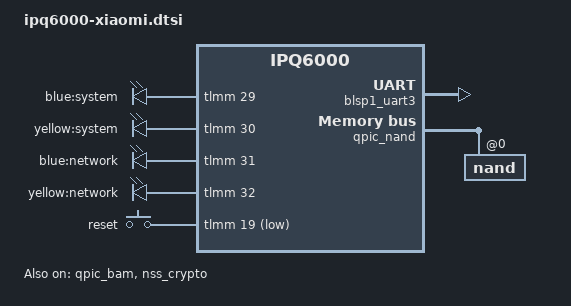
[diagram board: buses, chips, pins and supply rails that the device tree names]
// SPDX-License-Identifier: GPL-2.0-or-later OR MIT
// Redmi AX5 (RA67) private board wire-up for IPQ6018 32-bit build.
// This overlay carries the Xiaomi-private LEDs/keys/aliases; dp/switch/mdio
// and pinctrl definitions live in ipq6018-ax5.dts (where they can reference
// platform pins defined in dtsi).

#include <dt-bindings/gpio/gpio.h>
#include <dt-bindings/input/input.h>

/ {
	aliases {
		serial0 = &blsp1_uart3;
		led-boot = &led_yellow;
		led-failsafe = &led_blue;
		led-running = &led_blue;
		led-upgrade = &led_yellow;

		/* u-boot MAC patching needs these */
		ethernet0 = "/soc/dp1";
		ethernet1 = "/soc/dp2";
		ethernet2 = "/soc/dp3";
		ethernet3 = "/soc/dp4";

		label-mac-device = "/soc/dp4";
	};

	chosen {
		bootargs-append = " swiotlb=1 coherent_pool=2M";
	};

	leds {
		compatible = "gpio-leds";
		pinctrl-0 = <&leds_pins>;
		pinctrl-names = "default";

		led_blue: system-blue {
			label = "blue:system";
			gpios = <&tlmm 29 GPIO_ACTIVE_HIGH>;
		};

		led_yellow: system-yellow {
			label = "yellow:system";
			gpios = <&tlmm 30 GPIO_ACTIVE_HIGH>;
		};

		network-blue {
			label = "blue:network";
			gpios = <&tlmm 31 GPIO_ACTIVE_HIGH>;
		};

		network-yellow {
			label = "yellow:network";
			gpios = <&tlmm 32 GPIO_ACTIVE_HIGH>;
		};
	};

	keys {
		compatible = "gpio-keys";
		pinctrl-0 = <&button_pins>;
		pinctrl-names = "default";

		reset {
			label = "reset";
			linux,code = <KEY_RESTART>;
			gpios = <&tlmm 19 GPIO_ACTIVE_LOW>;
			linux,input-type = <1>;
			debounce-interval = <60>;
		};
	};
};

&blsp1_uart3 {
	status = "ok";
};

&qpic_bam {
	status = "ok";
};

&qpic_nand {
	status = "ok";

	nand@0 {
		reg = <0>;
		#address-cells = <1>;
		#size-cells = <1>;

		nand-ecc-strength = <4>;
		nand-ecc-step-size = <512>;
		nand-bus-width = <8>;

		partitions {
			compatible = "qcom,smem-part";
		};
	};
};

&nss_crypto {
	status = "ok";
};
